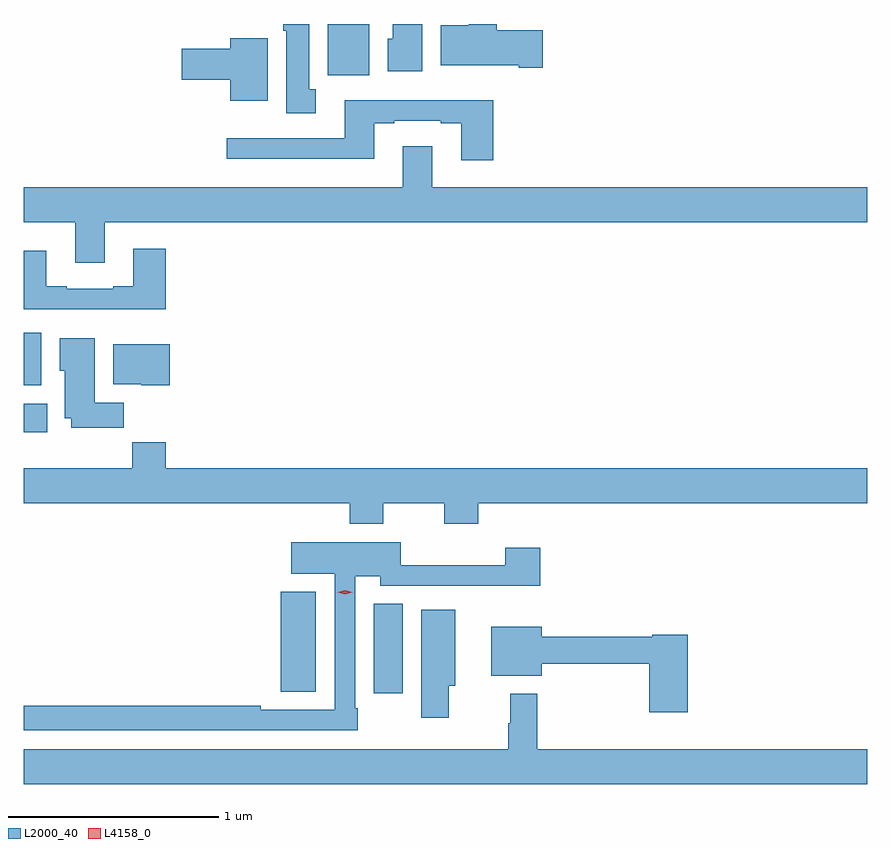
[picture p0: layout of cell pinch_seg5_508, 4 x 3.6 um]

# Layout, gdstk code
import gdstk
lib = gdstk.Library(unit=1e-6, precision=1e-09)
def R(c, l, rs):  # rectangles x0, y0, x1, y1
    for r in rs: c.add(gdstk.rectangle(r[:2], r[2:], *l))
def P(c, l, *ps):  # polygons
    for p in ps: c.add(gdstk.Polygon(p, *l))
L2000_40 = (2000, 40)
L4158_0 = (4158, 0)

pinch_seg5_508 = lib.new_cell('pinch_seg5_508')
R(pinch_seg5_508, L2000_40, [(916.607,847.866,916.744,848.291), (916.166,847.873,916.333,848.347), (914.947,849.104,915.058,849.238), (914.947,849.326,915.031,849.576), (916.388,850.796,916.585,851.038)])
P(pinch_seg5_508, L2000_40, [(916.333,850.73),(916.3,850.73),(916.3,851.039),(916.178,851.039),(916.178,851.006),(916.193,851.006),(916.193,850.617),(916.333,850.617)],
  [(916.837,851.039),(916.697,851.039),(916.697,850.968),(916.673,850.968),(916.673,850.814),(916.837,850.814)],
  [(917.407,851.01),(917.189,851.01),(917.189,851.038),(917.058,851.038),(917.058,851.032),(916.925,851.032),(916.925,850.844),(917.294,850.844),(917.294,850.832),(917.407,850.832)],
  [(916.105,850.972),(915.926,850.972),(915.926,850.922),(915.696,850.922),(915.696,850.775),(915.926,850.775),(915.926,850.676),(916.105,850.676)],
  [(917.174,850.678),(916.469,850.678),(916.469,850.497),(915.909,850.497),(915.909,850.4),(916.609,850.4),(916.609,850.569),(916.705,850.569),(916.705,850.581),(916.925,850.581),(916.925,850.569),(917.021,850.569),(917.021,850.392),(917.174,850.392)],
  [(915.331,850.1),(918.947,850.1),(918.947,850.264),(916.885,850.264),(916.885,850.459),(916.745,850.459),(916.745,850.264),(914.947,850.264),(914.947,850.1),(915.191,850.1),(915.191,849.906),(915.331,849.906)],
  [(915.62,849.973),(915.467,849.973),(915.467,849.796),(915.371,849.796),(915.371,849.783),(915.151,849.783),(915.151,849.796),(915.055,849.796),(915.055,849.964),(914.947,849.964),(914.947,849.686),(915.62,849.686)],
  [(915.422,849.244),(915.283,849.244),(915.283,849.55),(915.119,849.55),(915.119,849.396),(915.143,849.396),(915.143,849.17),(915.173,849.17),(915.173,849.126),(915.422,849.126)],
  [(915.64,849.52),(915.371,849.52),(915.371,849.332),(915.504,849.332),(915.504,849.326),(915.64,849.326)],
  [(916.653,848.768),(916.942,848.768),(916.942,848.669),(917.102,848.669),(917.102,848.768),(918.947,848.768),(918.947,848.932),(915.62,848.932),(915.62,849.056),(915.463,849.056),(915.463,848.932),(914.947,848.932),(914.947,848.768),(916.493,848.768),(916.493,848.669),(916.653,848.669)],
  [(916.531,847.795),(916.518,847.795),(916.518,848.42),(916.638,848.42),(916.638,848.376),(917.147,848.376),(917.147,848.375),(917.396,848.375),(917.396,848.557),(917.231,848.557),(917.231,848.474),(916.734,848.474),(916.734,848.581),(916.215,848.581),(916.215,848.432),(916.422,848.432),(916.422,847.788),(916.07,847.788),(916.07,847.808),(914.947,847.808),(914.947,847.692),(916.531,847.692)],
  [(916.962,847.901),(916.993,847.901),(916.993,848.263),(916.832,848.263),(916.832,847.749),(916.962,847.749)],
  [(918.095,848.143),(917.928,848.143),(917.928,848.135),(917.404,848.135),(917.404,848.182),(917.165,848.182),(917.165,847.949),(917.404,847.949),(917.404,848.007),(917.912,848.007),(917.912,847.776),(918.095,847.776)],
  [(918.947,847.6),(917.381,847.6),(917.381,847.864),(917.253,847.864),(917.253,847.724),(917.245,847.724),(917.245,847.6),(914.947,847.6),(914.947,847.436),(918.947,847.436)])
P(pinch_seg5_508, L4158_0, [(916.471,848.335),(916.436,848.346),(916.436,848.346),(916.436,848.346),(916.471,848.355),(916.506,848.345),(916.506,848.345),(916.506,848.344)])

lib.write_gds('pinch_seg5_508.gds')
